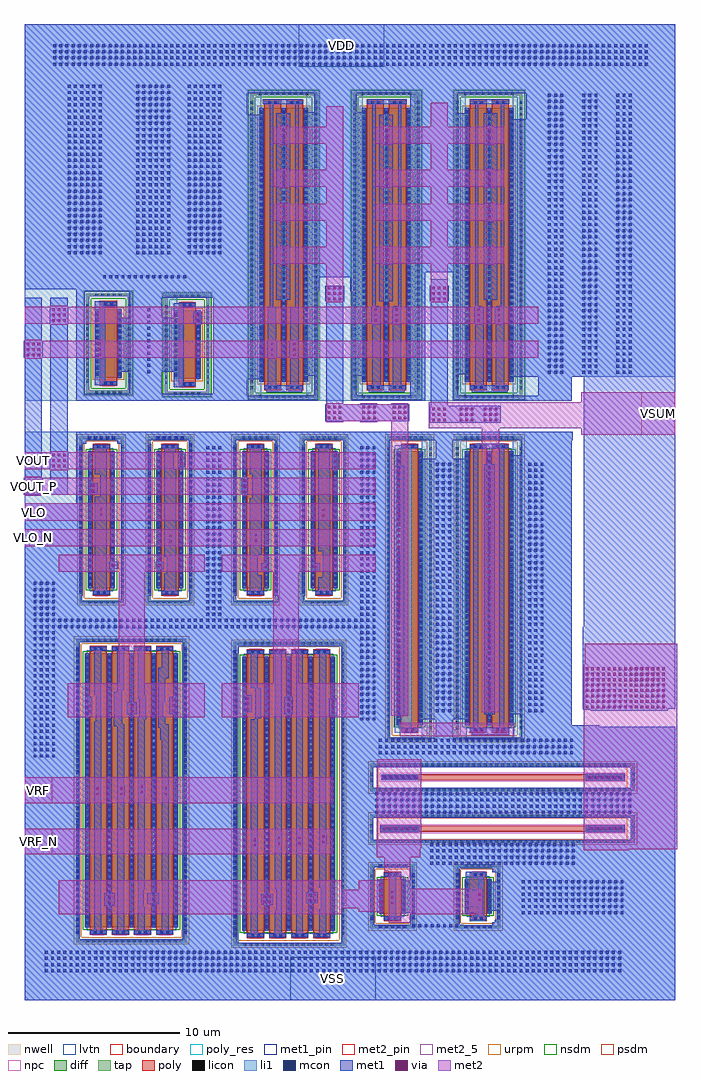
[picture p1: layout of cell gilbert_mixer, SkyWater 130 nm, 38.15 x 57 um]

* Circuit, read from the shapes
.subckt gilbert_mixer VDD VLO VLO_N VOUT VOUT_P VRF VRF_N VSS VSUM
XM1 n1 VRF n2 VSS sky130_fd_pr__nfet_01v8_lvt w=16 l=1 m=4
XM2 n2 VLO VOUT_P VSS sky130_fd_pr__nfet_01v8_lvt w=8 l=1
XM3 VOUT VLO_N n2 VSS sky130_fd_pr__nfet_01v8_lvt w=8 l=1
XM4 n1 VRF_N n3 VSS sky130_fd_pr__nfet_01v8_lvt w=16 l=1 m=4
XM5 n3 VLO_N VOUT_P VSS sky130_fd_pr__nfet_01v8_lvt w=8 l=1
XM6 VOUT VLO n3 VSS sky130_fd_pr__nfet_01v8_lvt w=8 l=1
XM7 VSS n4 n1 VSS sky130_fd_pr__nfet_01v8_lvt w=2 l=1
XM8 VSS n5 n5 VSS sky130_fd_pr__nfet_01v8_lvt w=16 l=1
XM9 VSS n4 n4 VSS sky130_fd_pr__nfet_01v8_lvt w=2 l=1
XM10 VSUM n5 VSS VSS sky130_fd_pr__nfet_01v8_lvt w=16 l=1 m=2
XM11 VDD VOUT_P VOUT_P VDD sky130_fd_pr__pfet_01v8 w=4 l=1
XM12 VOUT VDD VDD VDD sky130_fd_pr__pfet_01v8 w=4 l=1
XM13 n5 VOUT_P VDD VDD sky130_fd_pr__pfet_01v8 w=16 l=1 m=2
XM14 VSUM VOUT VDD VDD sky130_fd_pr__pfet_01v8 w=16 l=1 m=4
XR15 VDD n4 VSS sky130_fd_pr__res_xhigh_po w=0.35 l=9.88
XR16 VDD n6 VSS sky130_fd_pr__res_xhigh_po w=0.35 l=9.88
.ends

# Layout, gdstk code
from math import pi, radians
import gdstk
lib = gdstk.Library(unit=1e-6, precision=1e-09)
def R(c, l, rs):  # rectangles x0, y0, x1, y1
    for r in rs: c.add(gdstk.rectangle(r[:2], r[2:], *l))
def A(c, l, x, y, w, h, nx, ny, dx, dy):  # array of equal rectangles
    R(c, l, [(x+i*dx, y+j*dy, x+i*dx+w, y+j*dy+h) for i in range(nx) for j in range(ny)])
nwell = (64, 20)
diff = (65, 20)
tap = (65, 44)
poly_res = (66, 13)
poly = (66, 20)
licon = (66, 44)
li1 = (67, 20)
mcon = (67, 44)
met1_pin = (68, 16)
met1 = (68, 20)
via = (68, 44)
met2_5 = (69, 5)
met2_pin = (69, 16)
met2 = (69, 20)
urpm = (79, 20)
nsdm = (93, 44)
psdm = (94, 20)
npc = (95, 20)
lvtn = (125, 44)
boundary = (235, 4)

sky130_fd_pr__res_xhigh_ = lib.new_cell('sky130_fd_pr__res_xhigh_po_0p35_KNBXRF')
R(sky130_fd_pr__res_xhigh_, tap, [(-0.825,-7.73,0.825,-7.56), (-0.825,-7.56,-0.655,7.56), (0.655,-7.56,0.825,7.56), (-0.825,7.56,0.825,7.73)])
R(sky130_fd_pr__res_xhigh_, poly_res, [(-0.175,-5,0.175,5)])
R(sky130_fd_pr__res_xhigh_, poly, [(-0.175,-7.08,0.175,7.08)])
A(sky130_fd_pr__res_xhigh_, licon, -0.825, -7.225, 0.17, 0.17, 1, 43, 0, 0.34)
A(sky130_fd_pr__res_xhigh_, licon, 0.655, -7.225, 0.17, 0.17, 1, 43, 0, 0.34)
R(sky130_fd_pr__res_xhigh_, licon, [(-0.255,-7.73,-0.085,-7.56), (0.085,-7.73,0.255,-7.56), (-0.095,-7,0.095,-5), (-0.095,5,0.095,7), (-0.255,7.56,-0.085,7.73), (0.085,7.56,0.255,7.73)])
R(sky130_fd_pr__res_xhigh_, li1, [(-0.825,-7.73,0.825,-7.56), (-0.825,-7.56,-0.655,7.56), (0.655,-7.56,0.825,7.56), (-0.175,-7.08,0.175,-4.92), (-0.175,4.92,0.175,7.08), (-0.825,7.56,0.825,7.73)])
A(sky130_fd_pr__res_xhigh_, mcon, -0.085, -6.985, 0.17, 0.17, 1, 6, 0, 0.36)
A(sky130_fd_pr__res_xhigh_, mcon, -0.085, 5.01, 0.17, 0.17, 1, 6, 0, 0.36)
R(sky130_fd_pr__res_xhigh_, met1, [(-0.125,-7.05,0.125,-4.945), (-0.125,4.945,0.125,7.05)])
R(sky130_fd_pr__res_xhigh_, urpm, [(-0.635,-7.28,0.635,7.28)])
R(sky130_fd_pr__res_xhigh_, psdm, [(-0.95,-7.855,0.95,7.855)])
R(sky130_fd_pr__res_xhigh_, npc, [(-0.27,-7.175,0.27,7.175)])
R(sky130_fd_pr__res_xhigh_, boundary, [(-0.74,-7.645,0.74,7.645)])

sky130_fd_pr__nfet_01v8_ = lib.new_cell('sky130_fd_pr__nfet_01v8_lvt_7WXQKD')
R(sky130_fd_pr__nfet_01v8_, diff, [(-0.79,-8,0.79,8)])
R(sky130_fd_pr__nfet_01v8_, tap, [(-1.3,-8.87,1.3,-8.7), (-1.3,-8.7,-1.13,8.7), (1.13,-8.7,1.3,8.7), (-1.3,8.7,1.3,8.87)])
R(sky130_fd_pr__nfet_01v8_, poly, [(-0.5,-8.44,0.5,8.44)])
A(sky130_fd_pr__nfet_01v8_, licon, -0.765, -8.87, 0.17, 0.17, 5, 2, 0.34, 17.57)
A(sky130_fd_pr__nfet_01v8_, licon, -1.3, -8.245, 0.17, 0.17, 1, 49, 0, 0.34)
A(sky130_fd_pr__nfet_01v8_, licon, 1.13, -8.245, 0.17, 0.17, 1, 49, 0, 0.34)
A(sky130_fd_pr__nfet_01v8_, licon, -0.73, -7.905, 0.17, 0.17, 1, 47, 0, 0.34)
A(sky130_fd_pr__nfet_01v8_, licon, 0.56, -7.905, 0.17, 0.17, 1, 47, 0, 0.34)
R(sky130_fd_pr__nfet_01v8_, licon, [(-0.255,-8.36,-0.085,-8.19), (0.085,-8.36,0.255,-8.19), (-0.255,8.19,-0.085,8.36), (0.085,8.19,0.255,8.36)])
R(sky130_fd_pr__nfet_01v8_, li1, [(-1.3,-8.87,1.3,-8.7), (-1.3,-8.7,-1.13,8.7), (1.13,-8.7,1.3,8.7), (-0.5,-8.36,0.5,-8.19), (-0.73,-8.02,-0.56,8.02), (0.56,-8.02,0.73,8.02), (-0.5,8.19,0.5,8.36), (-1.3,8.7,1.3,8.87)])
A(sky130_fd_pr__nfet_01v8_, mcon, -0.73, -7.825, 0.17, 0.17, 1, 44, 0, 0.36)
A(sky130_fd_pr__nfet_01v8_, mcon, 0.56, -7.825, 0.17, 0.17, 1, 44, 0, 0.36)
R(sky130_fd_pr__nfet_01v8_, mcon, [(-0.265,-8.36,-0.095,-8.19), (0.095,-8.36,0.265,-8.19), (-0.265,8.19,-0.095,8.36), (0.095,8.19,0.265,8.36)])
R(sky130_fd_pr__nfet_01v8_, met1, [(-0.48,-8.39,0.48,-8.16), (-0.76,-8,-0.53,8), (0.53,-8,0.76,8), (-0.48,8.16,0.48,8.39)])
R(sky130_fd_pr__nfet_01v8_, nsdm, [(-0.915,-8.125,0.915,8.125)])
R(sky130_fd_pr__nfet_01v8_, psdm, [(-1.425,-8.995,1.425,-8.575), (-1.425,-8.575,-1.005,8.575), (1.005,-8.575,1.425,8.575), (-1.425,8.575,1.425,8.995)])
R(sky130_fd_pr__nfet_01v8_, npc, [(-0.355,-8.46,0.355,-8.09), (-0.355,8.09,0.355,8.46)])
R(sky130_fd_pr__nfet_01v8_, lvtn, [(-0.68,-8.18,0.68,8.18)])
R(sky130_fd_pr__nfet_01v8_, boundary, [(-1.21,-8.78,1.21,8.78)])

c_sky130_fd_pr__nfet_01v8_ = lib.new_cell('sky130_fd_pr__nfet_01v8_lvt_XA7BLB')
R(c_sky130_fd_pr__nfet_01v8_, diff, [(-1.435,-8,1.435,8)])
R(c_sky130_fd_pr__nfet_01v8_, tap, [(-1.945,-8.87,1.945,-8.7), (-1.945,-8.7,-1.775,8.7), (1.775,-8.7,1.945,8.7), (-1.945,8.7,1.945,8.87)])
R(c_sky130_fd_pr__nfet_01v8_, poly, [(-1.145,-8.44,-0.145,8.44), (0.145,-8.44,1.145,8.44)])
A(c_sky130_fd_pr__nfet_01v8_, licon, -1.445, -8.87, 0.17, 0.17, 9, 2, 0.34, 17.57)
A(c_sky130_fd_pr__nfet_01v8_, licon, -1.945, -8.245, 0.17, 0.17, 1, 49, 0, 0.34)
A(c_sky130_fd_pr__nfet_01v8_, licon, 1.775, -8.245, 0.17, 0.17, 1, 49, 0, 0.34)
A(c_sky130_fd_pr__nfet_01v8_, licon, -1.375, -7.905, 0.17, 0.17, 3, 47, 1.29, 0.34)
R(c_sky130_fd_pr__nfet_01v8_, licon, [(-0.9,-8.36,-0.73,-8.19), (-0.56,-8.36,-0.39,-8.19), (0.39,-8.36,0.56,-8.19), (0.73,-8.36,0.9,-8.19), (-0.9,8.19,-0.73,8.36), (-0.56,8.19,-0.39,8.36), (0.39,8.19,0.56,8.36), (0.73,8.19,0.9,8.36)])
A(c_sky130_fd_pr__nfet_01v8_, li1, -1.375, -8.02, 0.17, 16.04, 3, 1, 1.29, 0)
R(c_sky130_fd_pr__nfet_01v8_, li1, [(-1.945,-8.87,1.945,-8.7), (-1.945,-8.7,-1.775,8.7), (1.775,-8.7,1.945,8.7), (-1.145,-8.36,-0.145,-8.19), (0.145,-8.36,1.145,-8.19), (-1.145,8.19,-0.145,8.36), (0.145,8.19,1.145,8.36), (-1.945,8.7,1.945,8.87)])
A(c_sky130_fd_pr__nfet_01v8_, mcon, -1.375, -7.825, 0.17, 0.17, 3, 44, 1.29, 0.36)
R(c_sky130_fd_pr__nfet_01v8_, mcon, [(-0.91,-8.36,-0.74,-8.19), (-0.55,-8.36,-0.38,-8.19), (0.38,-8.36,0.55,-8.19), (0.74,-8.36,0.91,-8.19), (-0.91,8.19,-0.74,8.36), (-0.55,8.19,-0.38,8.36), (0.38,8.19,0.55,8.36), (0.74,8.19,0.91,8.36)])
A(c_sky130_fd_pr__nfet_01v8_, met1, -1.405, -8, 0.23, 16, 3, 1, 1.29, 0)
R(c_sky130_fd_pr__nfet_01v8_, met1, [(-1.125,-8.39,-0.165,-8.16), (0.165,-8.39,1.125,-8.16), (-1.125,8.16,-0.165,8.39), (0.165,8.16,1.125,8.39)])
R(c_sky130_fd_pr__nfet_01v8_, nsdm, [(-1.56,-8.125,1.56,8.125)])
R(c_sky130_fd_pr__nfet_01v8_, psdm, [(-2.07,-8.995,2.07,-8.575), (-2.07,-8.575,-1.65,8.575), (1.65,-8.575,2.07,8.575), (-2.07,8.575,2.07,8.995)])
R(c_sky130_fd_pr__nfet_01v8_, npc, [(-1,-8.46,-0.29,-8.09), (0.29,-8.46,1,-8.09), (-1,8.09,-0.29,8.46), (0.29,8.09,1,8.46)])
R(c_sky130_fd_pr__nfet_01v8_, lvtn, [(-1.325,-8.18,1.325,8.18)])
R(c_sky130_fd_pr__nfet_01v8_, boundary, [(-1.86,-8.785,1.86,8.785)])

sky130_fd_pr__pfet_01v8_ = lib.new_cell('sky130_fd_pr__pfet_01v8_6HGTAW')
R(sky130_fd_pr__pfet_01v8_, nwell, [(-2.125,-9.095,2.125,9.095)])
R(sky130_fd_pr__pfet_01v8_, diff, [(-1.435,-8,1.435,8)])
R(sky130_fd_pr__pfet_01v8_, tap, [(-1.945,-8.915,1.945,-8.745), (-1.945,-8.745,-1.775,8.745), (1.775,-8.745,1.945,8.745), (-1.945,8.745,1.945,8.915)])
R(sky130_fd_pr__pfet_01v8_, poly, [(-1.145,-8.485,-0.145,8.485), (0.145,-8.485,1.145,8.485)])
A(sky130_fd_pr__pfet_01v8_, licon, -1.445, -8.915, 0.17, 0.17, 9, 2, 0.34, 17.66)
A(sky130_fd_pr__pfet_01v8_, licon, -1.945, -8.415, 0.17, 0.17, 1, 50, 0, 0.34)
A(sky130_fd_pr__pfet_01v8_, licon, 1.775, -8.415, 0.17, 0.17, 1, 50, 0, 0.34)
A(sky130_fd_pr__pfet_01v8_, licon, -1.375, -7.905, 0.17, 0.17, 3, 47, 1.29, 0.34)
R(sky130_fd_pr__pfet_01v8_, licon, [(-0.9,-8.405,-0.73,-8.235), (-0.56,-8.405,-0.39,-8.235), (0.39,-8.405,0.56,-8.235), (0.73,-8.405,0.9,-8.235), (-0.9,8.235,-0.73,8.405), (-0.56,8.235,-0.39,8.405), (0.39,8.235,0.56,8.405), (0.73,8.235,0.9,8.405)])
A(sky130_fd_pr__pfet_01v8_, li1, -1.375, -8.02, 0.17, 16.04, 3, 1, 1.29, 0)
R(sky130_fd_pr__pfet_01v8_, li1, [(-1.945,-8.915,1.945,-8.745), (-1.945,-8.745,-1.775,8.745), (1.775,-8.745,1.945,8.745), (-1.145,-8.405,-0.145,-8.235), (0.145,-8.405,1.145,-8.235), (-1.145,8.235,-0.145,8.405), (0.145,8.235,1.145,8.405), (-1.945,8.745,1.945,8.915)])
A(sky130_fd_pr__pfet_01v8_, mcon, -1.375, -7.825, 0.17, 0.17, 3, 44, 1.29, 0.36)
R(sky130_fd_pr__pfet_01v8_, mcon, [(-0.91,-8.405,-0.74,-8.235), (-0.55,-8.405,-0.38,-8.235), (0.38,-8.405,0.55,-8.235), (0.74,-8.405,0.91,-8.235), (-0.91,8.235,-0.74,8.405), (-0.55,8.235,-0.38,8.405), (0.38,8.235,0.55,8.405), (0.74,8.235,0.91,8.405)])
A(sky130_fd_pr__pfet_01v8_, met1, -1.405, -8, 0.23, 16, 3, 1, 1.29, 0)
R(sky130_fd_pr__pfet_01v8_, met1, [(-1.125,-8.435,-0.165,-8.205), (0.165,-8.435,1.125,-8.205), (-1.125,8.205,-0.165,8.435), (0.165,8.205,1.125,8.435)])
R(sky130_fd_pr__pfet_01v8_, nsdm, [(-2.07,-9.04,2.07,-8.62), (-2.07,-8.62,-1.65,8.62), (1.65,-8.62,2.07,8.62), (-2.07,8.62,2.07,9.04)])
R(sky130_fd_pr__pfet_01v8_, psdm, [(-1.56,-8.125,1.56,8.125)])
R(sky130_fd_pr__pfet_01v8_, npc, [(-1,-8.505,-0.29,-8.135), (0.29,-8.505,1,-8.135), (-1,8.135,-0.29,8.505), (0.29,8.135,1,8.505)])
R(sky130_fd_pr__pfet_01v8_, boundary, [(-1.86,-8.83,1.86,8.83)])

c_sky130_fd_pr__nfet_01v8__ = lib.new_cell('sky130_fd_pr__nfet_01v8_lvt_QGMAL3')
R(c_sky130_fd_pr__nfet_01v8__, diff, [(-0.79,-1,0.79,1)])
R(c_sky130_fd_pr__nfet_01v8__, tap, [(-1.3,-1.87,1.3,-1.7), (-1.3,-1.7,-1.13,1.7), (1.13,-1.7,1.3,1.7), (-1.3,1.7,1.3,1.87)])
R(c_sky130_fd_pr__nfet_01v8__, poly, [(-0.5,-1.44,0.5,1.44)])
A(c_sky130_fd_pr__nfet_01v8__, licon, -0.765, -1.87, 0.17, 0.17, 5, 2, 0.34, 3.57)
A(c_sky130_fd_pr__nfet_01v8__, licon, -1.3, -1.275, 0.17, 0.17, 1, 8, 0, 0.34)
A(c_sky130_fd_pr__nfet_01v8__, licon, 1.13, -1.275, 0.17, 0.17, 1, 8, 0, 0.34)
A(c_sky130_fd_pr__nfet_01v8__, licon, -0.73, -0.935, 0.17, 0.17, 1, 6, 0, 0.34)
A(c_sky130_fd_pr__nfet_01v8__, licon, 0.56, -0.935, 0.17, 0.17, 1, 6, 0, 0.34)
R(c_sky130_fd_pr__nfet_01v8__, licon, [(-0.255,-1.36,-0.085,-1.19), (0.085,-1.36,0.255,-1.19), (-0.255,1.19,-0.085,1.36), (0.085,1.19,0.255,1.36)])
R(c_sky130_fd_pr__nfet_01v8__, li1, [(-1.3,-1.87,1.3,-1.7), (-1.3,-1.7,-1.13,1.7), (1.13,-1.7,1.3,1.7), (-0.5,-1.36,0.5,-1.19), (-0.73,-1.02,-0.56,1.02), (0.56,-1.02,0.73,1.02), (-0.5,1.19,0.5,1.36), (-1.3,1.7,1.3,1.87)])
A(c_sky130_fd_pr__nfet_01v8__, mcon, -0.73, -0.805, 0.17, 0.17, 1, 5, 0, 0.36)
A(c_sky130_fd_pr__nfet_01v8__, mcon, 0.56, -0.805, 0.17, 0.17, 1, 5, 0, 0.36)
R(c_sky130_fd_pr__nfet_01v8__, mcon, [(-0.265,-1.36,-0.095,-1.19), (0.095,-1.36,0.265,-1.19), (-0.265,1.19,-0.095,1.36), (0.095,1.19,0.265,1.36)])
R(c_sky130_fd_pr__nfet_01v8__, met1, [(-0.48,-1.39,0.48,-1.16), (-0.76,-1,-0.53,1), (0.53,-1,0.76,1), (-0.48,1.16,0.48,1.39)])
R(c_sky130_fd_pr__nfet_01v8__, nsdm, [(-0.915,-1.125,0.915,1.125)])
R(c_sky130_fd_pr__nfet_01v8__, psdm, [(-1.425,-1.995,1.425,-1.575), (-1.425,-1.575,-1.005,1.575), (1.005,-1.575,1.425,1.575), (-1.425,1.575,1.425,1.995)])
R(c_sky130_fd_pr__nfet_01v8__, npc, [(-0.355,-1.46,0.355,-1.09), (-0.355,1.09,0.355,1.46)])
R(c_sky130_fd_pr__nfet_01v8__, lvtn, [(-0.68,-1.18,0.68,1.18)])
R(c_sky130_fd_pr__nfet_01v8__, boundary, [(-1.21,-1.78,1.21,1.78)])

c_sky130_fd_pr__pfet_01v8_ = lib.new_cell('sky130_fd_pr__pfet_01v8_3H68VM')
R(c_sky130_fd_pr__pfet_01v8_, nwell, [(-1.48,-3.095,1.48,3.095)])
R(c_sky130_fd_pr__pfet_01v8_, diff, [(-0.79,-2,0.79,2)])
R(c_sky130_fd_pr__pfet_01v8_, tap, [(-1.3,-2.915,1.3,-2.745), (-1.3,-2.745,-1.13,2.745), (1.13,-2.745,1.3,2.745), (-1.3,2.745,1.3,2.915)])
R(c_sky130_fd_pr__pfet_01v8_, poly, [(-0.5,-2.485,0.5,2.485)])
A(c_sky130_fd_pr__pfet_01v8_, licon, -0.765, -2.915, 0.17, 0.17, 5, 2, 0.34, 5.66)
A(c_sky130_fd_pr__pfet_01v8_, licon, -1.3, -2.295, 0.17, 0.17, 1, 14, 0, 0.34)
A(c_sky130_fd_pr__pfet_01v8_, licon, 1.13, -2.295, 0.17, 0.17, 1, 14, 0, 0.34)
A(c_sky130_fd_pr__pfet_01v8_, licon, -0.73, -1.785, 0.17, 0.17, 1, 11, 0, 0.34)
A(c_sky130_fd_pr__pfet_01v8_, licon, 0.56, -1.785, 0.17, 0.17, 1, 11, 0, 0.34)
R(c_sky130_fd_pr__pfet_01v8_, licon, [(-0.255,-2.405,-0.085,-2.235), (0.085,-2.405,0.255,-2.235), (-0.255,2.235,-0.085,2.405), (0.085,2.235,0.255,2.405)])
R(c_sky130_fd_pr__pfet_01v8_, li1, [(-1.3,-2.915,1.3,-2.745), (-1.3,-2.745,-1.13,2.745), (1.13,-2.745,1.3,2.745), (-0.5,-2.405,0.5,-2.235), (-0.73,-2.02,-0.56,2.02), (0.56,-2.02,0.73,2.02), (-0.5,2.235,0.5,2.405), (-1.3,2.745,1.3,2.915)])
A(c_sky130_fd_pr__pfet_01v8_, mcon, -0.73, -1.885, 0.17, 0.17, 1, 11, 0, 0.36)
A(c_sky130_fd_pr__pfet_01v8_, mcon, 0.56, -1.885, 0.17, 0.17, 1, 11, 0, 0.36)
R(c_sky130_fd_pr__pfet_01v8_, mcon, [(-0.265,-2.405,-0.095,-2.235), (0.095,-2.405,0.265,-2.235), (-0.265,2.235,-0.095,2.405), (0.095,2.235,0.265,2.405)])
R(c_sky130_fd_pr__pfet_01v8_, met1, [(-0.48,-2.435,0.48,-2.205), (-0.76,-2,-0.53,2), (0.53,-2,0.76,2), (-0.48,2.205,0.48,2.435)])
R(c_sky130_fd_pr__pfet_01v8_, nsdm, [(-1.425,-3.04,1.425,-2.62), (-1.425,-2.62,-1.005,2.62), (1.005,-2.62,1.425,2.62), (-1.425,2.62,1.425,3.04)])
R(c_sky130_fd_pr__pfet_01v8_, psdm, [(-0.915,-2.125,0.915,2.125)])
R(c_sky130_fd_pr__pfet_01v8_, npc, [(-0.355,-2.505,0.355,-2.135), (-0.355,2.135,0.355,2.505)])
R(c_sky130_fd_pr__pfet_01v8_, boundary, [(-1.215,-2.83,1.215,2.83)])

c_sky130_fd_pr__nfet_01v8___ = lib.new_cell('sky130_fd_pr__nfet_01v8_lvt_TV58K7')
R(c_sky130_fd_pr__nfet_01v8___, diff, [(-2.725,-8,2.725,8)])
R(c_sky130_fd_pr__nfet_01v8___, tap, [(-3.235,-8.87,3.235,-8.7), (-3.235,-8.7,-3.065,8.7), (3.065,-8.7,3.235,8.7), (-3.235,8.7,3.235,8.87)])
A(c_sky130_fd_pr__nfet_01v8___, poly, -2.435, -8.44, 1, 16.88, 4, 1, 1.29, 0)
A(c_sky130_fd_pr__nfet_01v8___, licon, -2.635, -8.87, 0.17, 0.17, 16, 2, 0.34, 17.57)
A(c_sky130_fd_pr__nfet_01v8___, licon, -3.235, -8.245, 0.17, 0.17, 1, 49, 0, 0.34)
A(c_sky130_fd_pr__nfet_01v8___, licon, 3.065, -8.245, 0.17, 0.17, 1, 49, 0, 0.34)
A(c_sky130_fd_pr__nfet_01v8___, licon, -2.665, -7.905, 0.17, 0.17, 5, 47, 1.29, 0.34)
R(c_sky130_fd_pr__nfet_01v8___, licon, [(-2.19,-8.36,-2.02,-8.19), (-1.85,-8.36,-1.68,-8.19), (-0.9,-8.36,-0.73,-8.19), (-0.56,-8.36,-0.39,-8.19), (0.39,-8.36,0.56,-8.19), (0.73,-8.36,0.9,-8.19), (1.68,-8.36,1.85,-8.19), (2.02,-8.36,2.19,-8.19), (-2.19,8.19,-2.02,8.36), (-1.85,8.19,-1.68,8.36), (-0.9,8.19,-0.73,8.36), (-0.56,8.19,-0.39,8.36), (0.39,8.19,0.56,8.36), (0.73,8.19,0.9,8.36), (1.68,8.19,1.85,8.36), (2.02,8.19,2.19,8.36)])
A(c_sky130_fd_pr__nfet_01v8___, li1, -2.435, -8.36, 1, 0.17, 4, 2, 1.29, 16.55)
A(c_sky130_fd_pr__nfet_01v8___, li1, -2.665, -8.02, 0.17, 16.04, 5, 1, 1.29, 0)
R(c_sky130_fd_pr__nfet_01v8___, li1, [(-3.235,-8.87,3.235,-8.7), (-3.235,-8.7,-3.065,8.7), (3.065,-8.7,3.235,8.7), (-3.235,8.7,3.235,8.87)])
A(c_sky130_fd_pr__nfet_01v8___, mcon, -2.665, -7.825, 0.17, 0.17, 5, 44, 1.29, 0.36)
R(c_sky130_fd_pr__nfet_01v8___, mcon, [(-2.2,-8.36,-2.03,-8.19), (-1.84,-8.36,-1.67,-8.19), (-0.91,-8.36,-0.74,-8.19), (-0.55,-8.36,-0.38,-8.19), (0.38,-8.36,0.55,-8.19), (0.74,-8.36,0.91,-8.19), (1.67,-8.36,1.84,-8.19), (2.03,-8.36,2.2,-8.19), (-2.2,8.19,-2.03,8.36), (-1.84,8.19,-1.67,8.36), (-0.91,8.19,-0.74,8.36), (-0.55,8.19,-0.38,8.36), (0.38,8.19,0.55,8.36), (0.74,8.19,0.91,8.36), (1.67,8.19,1.84,8.36), (2.03,8.19,2.2,8.36)])
A(c_sky130_fd_pr__nfet_01v8___, met1, -2.415, -8.39, 0.96, 0.23, 4, 2, 1.29, 16.55)
A(c_sky130_fd_pr__nfet_01v8___, met1, -2.695, -8, 0.23, 16, 5, 1, 1.29, 0)
R(c_sky130_fd_pr__nfet_01v8___, nsdm, [(-2.85,-8.125,2.85,8.125)])
R(c_sky130_fd_pr__nfet_01v8___, psdm, [(-3.36,-8.995,3.36,-8.575), (-3.36,-8.575,-2.94,8.575), (2.94,-8.575,3.36,8.575), (-3.36,8.575,3.36,8.995)])
A(c_sky130_fd_pr__nfet_01v8___, npc, -2.29, -8.46, 0.71, 0.37, 4, 2, 1.29, 16.55)
R(c_sky130_fd_pr__nfet_01v8___, lvtn, [(-2.615,-8.18,2.615,8.18)])
R(c_sky130_fd_pr__nfet_01v8___, boundary, [(-3.15,-8.785,3.15,8.785)])

c_sky130_fd_pr__nfet_01v8____ = lib.new_cell('sky130_fd_pr__nfet_01v8_lvt_HS3BL4')
R(c_sky130_fd_pr__nfet_01v8____, diff, [(-0.79,-4,0.79,4)])
R(c_sky130_fd_pr__nfet_01v8____, tap, [(-1.3,-4.87,1.3,-4.7), (-1.3,-4.7,-1.13,4.7), (1.13,-4.7,1.3,4.7), (-1.3,4.7,1.3,4.87)])
R(c_sky130_fd_pr__nfet_01v8____, poly, [(-0.5,-4.44,0.5,4.44)])
A(c_sky130_fd_pr__nfet_01v8____, licon, -0.765, -4.87, 0.17, 0.17, 5, 2, 0.34, 9.57)
A(c_sky130_fd_pr__nfet_01v8____, licon, -1.3, -4.335, 0.17, 0.17, 1, 26, 0, 0.34)
A(c_sky130_fd_pr__nfet_01v8____, licon, 1.13, -4.335, 0.17, 0.17, 1, 26, 0, 0.34)
A(c_sky130_fd_pr__nfet_01v8____, licon, -0.73, -3.825, 0.17, 0.17, 1, 23, 0, 0.34)
A(c_sky130_fd_pr__nfet_01v8____, licon, 0.56, -3.825, 0.17, 0.17, 1, 23, 0, 0.34)
R(c_sky130_fd_pr__nfet_01v8____, licon, [(-0.255,-4.36,-0.085,-4.19), (0.085,-4.36,0.255,-4.19), (-0.255,4.19,-0.085,4.36), (0.085,4.19,0.255,4.36)])
R(c_sky130_fd_pr__nfet_01v8____, li1, [(-1.3,-4.87,1.3,-4.7), (-1.3,-4.7,-1.13,4.7), (1.13,-4.7,1.3,4.7), (-0.5,-4.36,0.5,-4.19), (-0.73,-4.02,-0.56,4.02), (0.56,-4.02,0.73,4.02), (-0.5,4.19,0.5,4.36), (-1.3,4.7,1.3,4.87)])
A(c_sky130_fd_pr__nfet_01v8____, mcon, -0.73, -3.865, 0.17, 0.17, 1, 22, 0, 0.36)
A(c_sky130_fd_pr__nfet_01v8____, mcon, 0.56, -3.865, 0.17, 0.17, 1, 22, 0, 0.36)
R(c_sky130_fd_pr__nfet_01v8____, mcon, [(-0.265,-4.36,-0.095,-4.19), (0.095,-4.36,0.265,-4.19), (-0.265,4.19,-0.095,4.36), (0.095,4.19,0.265,4.36)])
R(c_sky130_fd_pr__nfet_01v8____, met1, [(-0.48,-4.39,0.48,-4.16), (-0.76,-4,-0.53,4), (0.53,-4,0.76,4), (-0.48,4.16,0.48,4.39)])
R(c_sky130_fd_pr__nfet_01v8____, nsdm, [(-0.915,-4.125,0.915,4.125)])
R(c_sky130_fd_pr__nfet_01v8____, psdm, [(-1.425,-4.995,1.425,-4.575), (-1.425,-4.575,-1.005,4.575), (1.005,-4.575,1.425,4.575), (-1.425,4.575,1.425,4.995)])
R(c_sky130_fd_pr__nfet_01v8____, npc, [(-0.355,-4.46,0.355,-4.09), (-0.355,4.09,0.355,4.46)])
R(c_sky130_fd_pr__nfet_01v8____, lvtn, [(-0.68,-4.18,0.68,4.18)])
R(c_sky130_fd_pr__nfet_01v8____, boundary, [(-1.21,-4.78,1.21,4.78)])

gilbert_mixer = lib.new_cell('gilbert_mixer')
R(gilbert_mixer, diff, [(0.2,11,0.7,13), (2.8,12.9,3.1,13.7)])
R(gilbert_mixer, poly, [(0.2,11,0.7,13), (2.8,12.9,3.1,13.7)])
A(gilbert_mixer, li1, 8.06, -1.31, 0.84, 0.17, 4, 1, 1.29, 0)
A(gilbert_mixer, li1, -1.12, -1.12, 0.84, 0.17, 4, 1, 1.29, 0)
A(gilbert_mixer, li1, 7.75, -0.89, 0.17, 15.88, 5, 1, 1.29, 0)
A(gilbert_mixer, li1, -1.43, -0.7, 0.17, 15.88, 5, 1, 1.29, 0)
R(gilbert_mixer, li1, [(-5,-5,33,-1.65), (-5,-1.65,7.5,-1.45), (13.5,-1.65,33,-0.65), (-5,-1.45,-1.8,15.9), (4.2,-1.45,7.5,15.65), (13.5,-0.65,20.65,-0.6), (22.3,-0.65,33,-0.45), (13.5,-0.6,15.4,2.75), (17.5,-0.6,20.4,0.11), (22.45,-0.45,33,-0.3), (21.05,-0.4,21.9,-0.1), (16.06,-0.31,16.9,-0.14), (22.61,-0.3,33,0.2), (21.15,-0.1,21.85,-0.05), (21.5,-0.05,21.85,0.45), (15.75,0.11,15.92,1.99), (17.04,0.11,20.4,1.95), (20.75,0.11,20.92,0.45), (22.04,0.11,22.21,0.2), (22.04,0.2,33,1.9), (20.75,0.45,21.85,1.45), (20.75,1.45,20.92,1.99), (21.5,1.45,21.85,2.15), (22.04,1.9,22.21,1.99), (22.61,1.9,33,2.44), (17.04,1.95,17.21,1.99), (17.5,1.95,20.4,2.7), (21.15,2.15,21.85,2.2), (21.05,2.2,21.9,2.5), (16.06,2.24,16.9,2.41), (22.7,2.44,33,2.45), (22.3,2.45,33,2.7), (17.5,2.7,33,2.75), (13.5,2.75,33,4.35), (13.5,4.35,15.35,5.65), (30.4,4.35,33,5.65), (15.83,4.83,17.99,5.18), (27.83,4.83,29.99,5.18), (13.5,5.65,33,7.4), (13.5,7.4,15.35,8.6), (30.4,7.4,33,8.6), (27.83,7.83,29.99,8.18), (13.5,8.6,33,10.3), (13.5,10.3,16.3,15.65), (18.2,10.3,20.8,11.4), (23.5,10.3,33,10.95), (16.6,10.6,17.6,27.4), (23.5,10.95,28.55,11.05), (23.5,11.05,26.95,11.7), (18.1,11.4,20.9,26.6), (23.4,11.7,26.95,26.8), (4.2,15.65,16.3,15.9), (-5,15.9,16.3,18.3), (-5,18.3,-1.7,18.66), (0.65,18.3,2.2,18.66), (4.6,18.3,7.3,18.66), (9.7,18.3,11.3,18.66), (13.6,18.3,16.3,27.7), (-5,18.66,-1.65,27.44), (0.65,18.66,2.35,27.44), (4.6,18.66,7.35,27.44), (9.61,18.66,11.35,27.44), (-1.25,19.11,-1.08,26.99), (18.2,26.6,20.8,27.7), (23.5,26.8,26.95,27.7), (-0.94,27.24,-0.1,27.41), (-5,27.44,-1.7,27.5), (0.65,27.44,2.2,27.5), (4.6,27.44,7.3,27.7), (9.7,27.44,11.3,27.7), (-5,27.5,-1.4,27.7), (0.4,27.5,2.2,27.7), (-5,27.7,27,28.2), (-5,30,26.95,30.3), (-5,30.3,8.8,30.4), (11.45,30.3,14.75,31.45), (17.5,30.3,20.75,31.55), (23.5,30.3,26.95,31.4), (-5,30.4,3,30.5), (6,30.4,8.8,31.25), (-5,30.5,-1.3,36.1), (1.1,30.5,3,31.7), (3.7,30.8,4.3,31.7), (-0.9,30.9,-0.3,35.8), (6,31.25,8.9,36), (23.45,31.4,33,46.45), (11.3,31.45,14.9,46.85), (17.35,31.55,20.8,46.8), (0.5,31.7,4.3,34.85), (1.1,34.85,4.3,35.7), (1.1,35.7,3.9,36), (1.1,36,8.9,36.1), (-5,36.1,8.9,46.7), (23.5,46.45,33,47.95), (-5,46.7,8.8,47.95), (17.5,46.8,20.75,47.95), (11.45,46.85,14.75,47.95), (-5,47.95,33,52)])
A(gilbert_mixer, mcon, -3.825, -3.375, 0.17, 0.17, 94, 4, 0.36, 0.36)
A(gilbert_mixer, mcon, 7.18, -1.315, 0.17, 0.17, 1, 47, 0, 0.36)
A(gilbert_mixer, mcon, -2, -1.125, 0.17, 0.17, 1, 47, 0, 0.36)
A(gilbert_mixer, mcon, 4.3, -1.125, 0.17, 0.17, 1, 47, 0, 0.36)
A(gilbert_mixer, mcon, 15.675, -0.82, 0.17, 0.17, 5, 2, 0.36, 3.57)
A(gilbert_mixer, mcon, 20.675, -0.82, 0.17, 0.17, 5, 1, 0.36, 0)
A(gilbert_mixer, mcon, 7.75, -0.775, 0.17, 0.17, 5, 44, 1.29, 0.36)
A(gilbert_mixer, mcon, 17.63, -0.76, 0.17, 0.17, 8, 1, 0.36, 0)
A(gilbert_mixer, mcon, -1.43, -0.585, 0.17, 0.17, 5, 44, 1.29, 0.36)
A(gilbert_mixer, mcon, 17.61, -0.295, 0.17, 0.17, 1, 8, 0, 0.36)
A(gilbert_mixer, mcon, 20.18, -0.295, 0.17, 0.17, 1, 8, 0, 0.36)
A(gilbert_mixer, mcon, 22.61, -0.295, 0.17, 0.17, 1, 8, 0, 0.36)
A(gilbert_mixer, mcon, 24.035, 0.015, 0.17, 0.17, 17, 6, 0.36, 0.36)
A(gilbert_mixer, mcon, 15.75, 0.245, 0.17, 0.17, 1, 5, 0, 0.36)
A(gilbert_mixer, mcon, 17.04, 0.245, 0.17, 0.17, 1, 5, 0, 0.36)
A(gilbert_mixer, mcon, 20.75, 0.245, 0.17, 0.17, 1, 5, 0, 0.36)
A(gilbert_mixer, mcon, 22.04, 0.245, 0.17, 0.17, 1, 5, 0, 0.36)
A(gilbert_mixer, mcon, 18.675, 2.9, 0.17, 0.17, 24, 4, 0.36, 0.36)
A(gilbert_mixer, mcon, 15.925, 4.92, 0.17, 0.17, 6, 1, 0.36, 0)
A(gilbert_mixer, mcon, 27.925, 4.92, 0.17, 0.17, 6, 2, 0.36, 3)
A(gilbert_mixer, mcon, 15.485, 5.875, 0.17, 0.17, 42, 4, 0.36, 0.36)
A(gilbert_mixer, mcon, -4.485, 9.165, 0.17, 0.17, 4, 21, 0.36, 0.36)
A(gilbert_mixer, mcon, 15.685, 9.355, 0.17, 0.17, 32, 3, 0.36, 0.36)
A(gilbert_mixer, mcon, 14.595, 11.325, 0.17, 0.17, 3, 15, 0.36, 0.36)
A(gilbert_mixer, mcon, 19.005, 11.815, 0.17, 0.17, 3, 41, 0.36, 0.36)
A(gilbert_mixer, mcon, 24.405, 11.815, 0.17, 0.17, 3, 41, 0.36, 0.36)
A(gilbert_mixer, mcon, -4.485, 16.725, 0.17, 0.17, 56, 2, 0.36, 0.36)
A(gilbert_mixer, mcon, -4.485, 17.445, 0.17, 0.17, 4, 6, 0.36, 0.36)
A(gilbert_mixer, mcon, 5.595, 17.445, 0.17, 0.17, 3, 28, 0.36, 0.36)
A(gilbert_mixer, mcon, 14.595, 17.445, 0.17, 0.17, 3, 28, 0.36, 0.36)
A(gilbert_mixer, mcon, -1.82, 18.825, 0.17, 0.17, 1, 24, 0, 0.36)
A(gilbert_mixer, mcon, 2.18, 18.825, 0.17, 0.17, 1, 24, 0, 0.36)
A(gilbert_mixer, mcon, 7.18, 18.825, 0.17, 0.17, 1, 24, 0, 0.36)
A(gilbert_mixer, mcon, 9.61, 18.825, 0.17, 0.17, 1, 24, 0, 0.36)
A(gilbert_mixer, mcon, 11.18, 18.825, 0.17, 0.17, 1, 24, 0, 0.36)
A(gilbert_mixer, mcon, 4.6, 19.065, 0.17, 0.17, 1, 24, 0, 0.36)
A(gilbert_mixer, mcon, -1.25, 19.185, 0.17, 0.17, 1, 22, 0, 0.36)
A(gilbert_mixer, mcon, -1.325, 27.75, 0.17, 0.17, 5, 1, 0.36, 0)
A(gilbert_mixer, mcon, 2.675, 27.75, 0.17, 0.17, 5, 1, 0.36, 0)
A(gilbert_mixer, mcon, 25.555, 31.565, 0.17, 0.17, 3, 46, 0.36, 0.36)
A(gilbert_mixer, mcon, 27.555, 31.565, 0.17, 0.17, 3, 46, 0.36, 0.36)
A(gilbert_mixer, mcon, 29.555, 31.565, 0.17, 0.17, 3, 46, 0.36, 0.36)
A(gilbert_mixer, mcon, 2.165, 31.615, 0.17, 0.17, 1, 11, 0, 0.36)
A(gilbert_mixer, mcon, -0.425, 37.165, 0.17, 0.17, 14, 1, 0.36, 0)
A(gilbert_mixer, mcon, -2.485, 38.555, 0.17, 0.17, 6, 28, 0.36, 0.36)
A(gilbert_mixer, mcon, 1.515, 38.555, 0.17, 0.17, 6, 28, 0.36, 0.36)
A(gilbert_mixer, mcon, 4.515, 38.555, 0.17, 0.17, 6, 28, 0.36, 0.36)
A(gilbert_mixer, mcon, -3.34, 49.575, 0.17, 0.17, 97, 4, 0.36, 0.36)
R(gilbert_mixer, mcon, [(8.215,-1.31,8.385,-1.14), (8.575,-1.31,8.745,-1.14), (9.505,-1.31,9.675,-1.14), (9.865,-1.31,10.035,-1.14), (10.795,-1.31,10.965,-1.14), (11.155,-1.31,11.325,-1.14), (12.085,-1.31,12.255,-1.14), (12.445,-1.31,12.615,-1.14), (-0.965,-1.12,-0.795,-0.95), (-0.605,-1.12,-0.435,-0.95), (0.325,-1.12,0.495,-0.95), (0.685,-1.12,0.855,-0.95), (1.615,-1.12,1.785,-0.95), (1.975,-1.12,2.145,-0.95), (2.905,-1.12,3.075,-0.95), (3.265,-1.12,3.435,-0.95), (15.18,-0.33,15.35,-0.16), (16.215,-0.31,16.385,-0.14), (16.575,-0.31,16.745,-0.14), (21.215,-0.31,21.385,-0.14), (21.575,-0.31,21.745,-0.14), (16.215,2.24,16.385,2.41), (16.575,2.24,16.745,2.41), (21.215,2.24,21.385,2.41), (21.575,2.24,21.745,2.41), (-0.785,27.24,-0.615,27.41), (-0.425,27.24,-0.255,27.41)])
R(gilbert_mixer, met1_pin, [(10.5,-5,15.5,-2.5), (11,49.5,16,52)])
A(gilbert_mixer, met1, 8, -1.34, 0.96, 0.23, 4, 1, 1.29, 0)
A(gilbert_mixer, met1, -1.18, -1.15, 0.96, 0.23, 4, 1, 1.29, 0)
A(gilbert_mixer, met1, 9.1, 30.5, 2.1, 0.4, 3, 1, 6, 0)
R(gilbert_mixer, met1, [(-5,-5,33,-1.65), (-5,-1.65,7.4,-1.45), (13.5,-1.65,33,-0.62), (-5,-1.45,-1.8,15.9), (4.25,-1.45,7.4,15.25), (9.6,-1.35,10,-1.34), (8.2,-1.11,8.62,3.9), (9.6,-1.11,10,0.25), (10.85,-1.11,11.25,15.45), (12.2,-1.11,12.6,0.3), (7.72,-0.95,7.95,11.8), (9.01,-0.95,9.24,0.55), (10.3,-0.95,10.53,11.7), (11.59,-0.95,11.82,0.65), (12.88,-0.95,13.11,11.6), (-0.95,-0.92,-0.53,11.25), (0.4,-0.92,0.82,6.9), (1.6,-0.92,2.02,0.45), (3,-0.92,3.42,6.9), (-1.46,-0.76,-1.23,11.5), (-0.17,-0.76,0.06,0.5), (1.12,-0.76,1.35,11.7), (2.41,-0.76,2.64,0.6), (3.7,-0.76,3.93,11.7), (13.5,-0.62,15.8,-0.6), (17.15,-0.62,20.65,-0.6), (22.3,-0.62,33,-0.45), (13.5,-0.6,15.4,2.75), (17.5,-0.6,20.41,-0.52), (17.5,-0.52,20.4,0.11), (22.45,-0.45,33,-0.3), (16,-0.34,16.96,-0.11), (21,-0.34,21.9,-0.11), (22.58,-0.3,33,0.2), (16.25,-0.11,16.7,2.21), (21.05,-0.11,21.9,-0.1), (21.15,-0.1,21.85,-0.05), (21.3,-0.05,21.85,0.11), (15.72,0.05,15.95,0.15), (17.01,0.05,17.24,0.11), (20.72,0.05,20.95,0.11), (22.01,0.05,22.24,0.2), (17.01,0.11,20.4,1.95), (20.72,0.11,21.85,2.05), (15.55,0.15,15.95,2), (22.01,0.2,33,0.25), (9.7,0.25,10,1.5), (22,0.25,33,1.9), (12.3,0.3,12.6,1.55), (1.6,0.45,1.95,1.45), (-0.35,0.5,0.25,1.25), (8.8,0.55,9.5,1.2), (2.15,0.6,2.85,1.25), (11.4,0.65,12.1,1.3), (9.01,1.2,9.24,15.05), (-0.17,1.25,0.06,15.24), (2.41,1.25,2.64,15.24), (11.59,1.3,11.82,15.05), (1.6,1.45,2.02,7), (9.6,1.5,10,4), (12.2,1.55,12.6,4.1), (22.01,1.9,22.24,2.05), (22.58,1.9,33,2.45), (17.01,1.95,17.24,2.05), (17.5,1.95,20.4,2.7), (15.72,2,15.95,2.05), (20.75,2.05,21.85,2.2), (20.75,2.2,21.9,2.21), (16,2.21,16.96,2.44), (20.75,2.21,21.96,2.44), (20.75,2.44,21.9,2.5), (22.3,2.45,33,2.7), (17.5,2.7,33,2.75), (15.6,2.72,17.36,2.75), (13.5,2.75,33,4.35), (8.2,3.9,8.65,4.5), (9.6,4,10.05,4.6), (12.2,4.1,12.65,4.7), (13.5,4.35,15.35,5.65), (30.4,4.35,33,5.65), (8.2,4.5,8.62,11.4), (9.6,4.6,10,15.35), (12.2,4.7,12.6,15.45), (15.77,4.8,18.05,5.21), (27.77,4.8,30.05,5.21), (13.5,5.65,33,7.4), (0.4,6.9,0.85,7.5), (3,6.9,3.45,7.5), (1.6,7,2.05,7.6), (13.5,7.4,15.35,8.6), (30.4,7.4,33,8.6), (0.4,7.5,0.82,11), (3,7.5,3.42,10.2), (1.6,7.6,2.02,11.4), (27.77,7.8,30.05,8.21), (13.5,8.6,33,10.33), (2.9,10.2,3.42,10.9), (13.5,10.33,16.3,15.65), (19,10.33,20,11.4), (24,10.33,33,10.95), (21.1,10.5,23.3,10.9), (17.05,10.6,17.85,10.9), (2.8,10.9,3.42,11.1), (21.2,10.9,21.5,27.2), (22.7,10.9,23,27.2), (24,10.95,28.55,11.05), (0.2,11,0.82,11.1), (24,11.05,26.95,11.7), (0.2,11.1,0.7,13), (2.8,11.1,3.2,11.5), (-0.85,11.25,-0.53,12.8), (1.6,11.4,2.1,11.5), (8.45,11.4,8.62,11.45), (18.1,11.4,20.9,26.6), (8.45,11.45,8.8,13.2), (-1.5,11.5,-1.05,12.7), (1.7,11.5,2.1,12.6), (2.8,11.5,3.1,12.4), (12.75,11.6,13.25,12.6), (16.55,11.6,17.15,26.2), (0.95,11.7,1.55,12.4), (3.45,11.7,3.95,12.7), (10.15,11.7,10.65,12.7), (21.85,11.7,22.45,26.3), (23.4,11.7,26.95,26.8), (7.72,11.8,8.3,12.8), (28.05,11.9,32.55,11.95), (27.62,11.95,32.55,12), (27.6,12,33,16.8), (1.12,12.4,1.35,15.24), (2.8,12.4,3.2,13.8), (1.6,12.6,2.1,12.8), (12.88,12.6,13.11,15.05), (-1.46,12.7,-1.23,15.24), (3.7,12.7,3.93,15.24), (10.3,12.7,10.53,15.05), (-0.95,12.8,-0.53,15.57), (1.6,12.8,2.02,15.57), (7.72,12.8,7.95,15.05), (0.4,13,0.7,13.1), (0.4,13.1,0.82,15.52), (8.2,13.2,8.8,13.25), (8.2,13.25,8.62,15.37), (2.8,13.8,3.42,14.4), (3,14.4,3.42,15.47), (4.25,15.25,7.5,15.65), (4.25,15.65,16.3,15.9), (-5,15.9,16.3,18.3), (27.65,16.8,33,31.4), (-5,18.3,-1.7,18.6), (0.65,18.3,2.2,18.6), (4.6,18.3,7.2,18.6), (9.8,18.3,11.3,18.6), (13.6,18.3,16.3,27.7), (-5,18.6,-1.62,24), (0.65,18.6,2.38,27.5), (4.6,18.6,7.38,18.84), (9.58,18.6,11.38,27.5), (-0.9,18.7,-0.2,24.4), (3.15,18.7,3.85,19.9), (8.15,18.7,8.85,19.8), (12.15,18.75,12.85,19.7), (4.57,18.84,7.38,27.5), (-1.28,19.05,-1.05,24.6), (12.4,19.7,12.85,21.2), (8.15,19.8,8.6,21), (3.3,19.9,3.85,20.9), (8.8,20.1,9.25,20.5), (11.75,20.1,12.25,20.5), (-0.05,20.2,0.45,20.6), (2.65,20.2,3.15,20.6), (3.15,20.9,3.85,26), (8.15,21,8.85,24.3), (12.15,21.2,12.85,25.9), (-2,24,-1.62,27.5), (8.3,24.3,8.85,25.7), (-0.6,24.4,-0.2,25.7), (-5.05,24.5,-3.95,25.5), (-3.5,24.5,-2.5,26), (7.65,24.5,8.05,25.5), (-1.28,24.6,-0.75,25.2), (-1.28,25.2,-1.05,27.05), (-5,25.5,-4,32.5), (-0.9,25.7,-0.2,27.21), (8.15,25.7,8.85,27.4), (12.15,25.9,12.8,27), (-3.55,26,-2.45,27), (3.15,26,3.7,27), (12.95,26,13.35,26.9), (3.95,26.1,4.35,26.9), (19,26.6,20,27.7), (24,26.8,26.95,27.7), (-3.5,27,-2.5,34.5), (3.15,27,3.85,27.4), (12.15,27,12.85,27.45), (21.2,27.2,23,27.4), (-1,27.21,-0.04,27.44), (21.3,27.4,23,27.5), (-2,27.5,-1.4,27.7), (0.4,27.5,2.2,27.7), (4.57,27.5,7.3,27.7), (9.7,27.5,11.3,27.7), (-2,27.7,27,28.2), (18.65,28.7,22.8,29.7), (12.55,28.8,17.45,29.8), (18.7,29.7,19.7,35.8), (12.6,29.8,13.6,35.8), (-2,30,12.1,30.3), (14.1,30,18.4,30.3), (20,30,26.95,30.3), (-2,30.3,8,30.4), (11.9,30.3,12.1,31.45), (14.1,30.3,14.4,31.45), (17.5,30.3,18.4,31.55), (20,30.3,20.3,31.55), (25,30.3,26.95,31.4), (-2,30.4,-1.5,36.4), (1.1,30.4,3,31.7), (6,30.4,8,31.25), (3.7,30.8,4.3,31.7), (-0.9,30.9,-0.3,35.8), (9.2,30.9,9.7,32.5), (10.5,30.9,11,32.5), (15.3,30.9,15.8,34.5), (16.5,30.9,17,34.5), (21.3,30.9,21.8,34.5), (22.5,30.9,23,34.5), (6,31.25,8.9,36), (23.45,31.4,33,46.45), (11.3,31.45,12.1,36.4), (14.1,31.45,14.9,36.4), (17.35,31.55,18.4,37.5), (20,31.55,20.8,37.5), (0.5,31.7,4.3,34.85), (-5.05,32.5,-3.95,33.5), (9.15,32.5,9.75,33.5), (10.45,32.5,11,33.5), (-5,33.5,-4,36), (9.2,33.5,9.7,35.5), (10.5,33.5,11,35.5), (-3.55,34.5,-2.45,35.5), (4.85,34.5,5.35,35.2), (15.25,34.5,15.8,35.5), (16.45,34.5,17,35.5), (21.25,34.5,21.8,35.5), (22.45,34.5,23,35.5), (1.1,34.85,3,36), (3.7,34.85,4.3,35.7), (-3.5,35.5,-2.5,36), (9.3,35.5,9.5,47.3), (10.8,35.5,11,47.3), (15.3,35.5,15.5,47.3), (16.8,35.5,17,47.3), (21.3,35.5,21.5,47.3), (22.8,35.5,23,47.3), (12.55,35.8,13.65,36.7), (15.7,35.8,16.5,46.7), (18.65,35.8,19.75,36.7), (9.7,35.9,10.5,46.8), (21.8,35.9,22.6,46.8), (1.1,36,8.9,36.4), (-2,36.4,8.9,36.5), (11.3,36.4,12.2,37.2), (14,36.4,14.9,37.2), (-5,36.5,8.9,46.7), (18.7,36.7,19.7,37.1), (11.3,37.2,14.9,46.85), (17.35,37.5,20.8,46.8), (24.3,46.45,33,47.95), (-5,46.7,8,47.95), (17.5,46.8,20.3,47.95), (11.9,46.85,14.4,47.95), (8.9,47.3,11.2,47.6), (15,47.3,17.3,47.6), (21,47.3,23.3,47.6), (-5,47.95,33,52)])
A(gilbert_mixer, via, 15.675, 0.36, 0.15, 0.15, 1, 5, 0, 0.32)
A(gilbert_mixer, via, 16.375, 0.58, 0.15, 0.15, 1, 3, 0, 0.32)
A(gilbert_mixer, via, 16.035, 4.93, 0.15, 0.15, 6, 1, 0.32, 0)
A(gilbert_mixer, via, 28.035, 4.93, 0.15, 0.15, 6, 2, 0.32, 3)
A(gilbert_mixer, via, 12.925, 11.705, 0.15, 0.15, 1, 3, 0, 0.32)
A(gilbert_mixer, via, 16.775, 11.785, 0.15, 0.15, 1, 45, 0, 0.32)
A(gilbert_mixer, via, 3.625, 11.805, 0.15, 0.15, 1, 3, 0, 0.32)
A(gilbert_mixer, via, 10.325, 11.805, 0.15, 0.15, 1, 3, 0, 0.32)
A(gilbert_mixer, via, 7.925, 11.905, 0.15, 0.15, 1, 3, 0, 0.32)
A(gilbert_mixer, via, 22.075, 11.935, 0.15, 0.15, 1, 45, 0, 0.32)
A(gilbert_mixer, via, 27.76, 12.03, 0.15, 0.15, 15, 8, 0.32, 0.32)
A(gilbert_mixer, via, -4.895, 24.605, 0.15, 0.15, 3, 3, 0.32, 0.32)
A(gilbert_mixer, via, 7.775, 24.605, 0.15, 0.15, 1, 3, 0, 0.32)
A(gilbert_mixer, via, 13.075, 26.055, 0.15, 0.15, 1, 3, 0, 0.32)
A(gilbert_mixer, via, -3.395, 26.105, 0.15, 0.15, 3, 3, 0.32, 0.32)
A(gilbert_mixer, via, 18.805, 28.805, 0.15, 0.15, 3, 3, 0.32, 0.32)
A(gilbert_mixer, via, 20.405, 28.805, 0.15, 0.15, 3, 3, 0.32, 0.32)
A(gilbert_mixer, via, 21.805, 28.805, 0.15, 0.15, 3, 3, 0.32, 0.32)
A(gilbert_mixer, via, 12.705, 28.905, 0.15, 0.15, 3, 3, 0.32, 0.32)
A(gilbert_mixer, via, 14.705, 28.905, 0.15, 0.15, 3, 3, 0.32, 0.32)
A(gilbert_mixer, via, 16.505, 28.905, 0.15, 0.15, 3, 3, 0.32, 0.32)
A(gilbert_mixer, via, -4.895, 32.605, 0.15, 0.15, 3, 3, 0.32, 0.32)
A(gilbert_mixer, via, -0.675, 32.605, 0.15, 0.15, 1, 3, 0, 0.32)
A(gilbert_mixer, via, 9.375, 32.605, 0.15, 0.15, 1, 3, 0, 0.32)
A(gilbert_mixer, via, 10.675, 32.605, 0.15, 0.15, 1, 3, 0, 0.32)
A(gilbert_mixer, via, -3.395, 34.605, 0.15, 0.15, 3, 3, 0.32, 0.32)
A(gilbert_mixer, via, 15.425, 34.605, 0.15, 0.15, 1, 3, 0, 0.32)
A(gilbert_mixer, via, 16.625, 34.605, 0.15, 0.15, 1, 3, 0, 0.32)
A(gilbert_mixer, via, 21.425, 34.605, 0.15, 0.15, 1, 3, 0, 0.32)
A(gilbert_mixer, via, 22.625, 34.605, 0.15, 0.15, 1, 3, 0, 0.32)
A(gilbert_mixer, via, 12.705, 35.855, 0.15, 0.15, 3, 3, 0.32, 0.32)
A(gilbert_mixer, via, 18.805, 35.855, 0.15, 0.15, 3, 3, 0.32, 0.32)
A(gilbert_mixer, via, 10.075, 38.105, 0.15, 0.15, 3, 3, 6, 0.32)
A(gilbert_mixer, via, 10.075, 40.605, 0.15, 0.15, 1, 3, 0, 0.32)
A(gilbert_mixer, via, 22.075, 40.605, 0.15, 0.15, 1, 3, 0, 0.32)
A(gilbert_mixer, via, 10.075, 42.605, 0.15, 0.15, 3, 3, 6, 0.32)
A(gilbert_mixer, via, 10.075, 45.105, 0.15, 0.15, 3, 3, 6, 0.32)
R(gilbert_mixer, via, [(-0.125,0.64,0.025,0.79), (8.915,0.64,9.065,0.79), (9.235,0.64,9.385,0.79), (2.45,0.69,2.6,0.84), (11.515,0.74,11.665,0.89), (11.835,0.74,11.985,0.89), (21.475,0.765,21.625,0.915), (-0.125,0.96,0.025,1.11), (8.915,0.96,9.065,1.11), (9.235,0.96,9.385,1.11), (2.45,1.01,2.6,1.16), (11.515,1.06,11.665,1.21), (11.835,1.06,11.985,1.21), (21.475,1.085,21.625,1.235), (8.375,3.965,8.525,4.115), (9.775,4.065,9.925,4.215), (10.975,4.065,11.125,4.215), (12.375,4.165,12.525,4.315), (8.375,4.285,8.525,4.435), (9.775,4.385,9.925,4.535), (10.975,4.385,11.125,4.535), (12.375,4.485,12.525,4.635), (-0.825,6.965,-0.675,7.115), (0.575,6.965,0.725,7.115), (3.175,6.965,3.325,7.115), (1.775,7.065,1.925,7.215), (-0.825,7.285,-0.675,7.435), (0.575,7.285,0.725,7.435), (3.175,7.285,3.325,7.435), (1.775,7.385,1.925,7.535), (17.215,10.675,17.365,10.825), (17.535,10.675,17.685,10.825), (21.315,10.675,21.465,10.825), (21.635,10.675,21.785,10.825), (22.515,10.675,22.665,10.825), (22.835,10.675,22.985,10.825), (-1.3,11.765,-1.15,11.915), (1.175,11.815,1.325,11.965), (-1.3,12.085,-1.15,12.235), (1.175,12.135,1.325,12.285), (8.975,20.225,9.125,20.375), (11.925,20.225,12.075,20.375), (0.125,20.325,0.275,20.475), (2.825,20.325,2.975,20.475), (3.425,21.715,3.575,21.865), (8.425,21.765,8.575,21.915), (3.425,22.035,3.575,22.185), (8.425,22.085,8.575,22.235), (12.375,23.215,12.525,23.365), (-0.625,23.265,-0.475,23.415), (12.375,23.535,12.525,23.685), (-0.625,23.585,-0.475,23.735), (-1.075,24.665,-0.925,24.815), (-1.075,24.985,-0.925,25.135), (4.075,26.265,4.225,26.415), (4.075,26.585,4.225,26.735), (5.025,34.615,5.175,34.765), (5.025,34.935,5.175,35.085)])
R(gilbert_mixer, met2_5, [(-5,24.5,-4,25.5), (-5,26,-4,27)])
R(gilbert_mixer, met2_pin, [(-5,3.5,-3.4,5), (-5,6.5,-3.4,8), (-5,21.5,-4,22.5), (-5,23,-4,24), (31,28,33,30.5)])
A(gilbert_mixer, met2, -5, 21.5, 20.5, 1, 1, 4, 0, 1.5)
A(gilbert_mixer, met2, 9.9, 37.95, 0.5, 0.05, 3, 2, 6, 1.05)
A(gilbert_mixer, met2, 9.9, 42.45, 0.5, 0.05, 3, 2, 6, 1.05)
A(gilbert_mixer, met2, 9.9, 44.95, 0.5, 0.05, 3, 2, 6, 1.05)
R(gilbert_mixer, met2, [(16.25,-0.5,17.5,0), (-3,0,13.5,0.35), (16.25,0,21.75,1.5), (15.6,0.1,15.9,0.15), (14.5,0.15,15.95,0.35), (-3,0.35,15.95,1.45), (-3,1.45,13.5,2), (14.5,1.45,15.95,2), (16.25,1.5,17.5,2.55), (15.6,2,15.9,2.05), (16,2.55,17.5,3.35), (15.55,3.35,18.1,3.85), (-5,3.5,13,5), (27.65,3.75,30.25,3.8), (27.65,3.8,33.1,14.58), (15.55,3.85,18.15,8.55), (-5,6.5,13,8), (15.6,8.55,18.15,9.05), (16.9,10.4,23.6,11.2), (-2.5,11.5,5.5,13.5), (6.5,11.5,14.5,13.5), (16.4,11.6,17.4,28.8), (21.7,11.8,22.7,28.4), (0.5,13.5,2,20), (9.5,13.5,11,20), (27.7,14.58,33.1,15.8), (-3,20,5.5,21), (6.5,20,15.5,21), (-5,24.45,-4,24.5), (7.7,24.45,8,24.5), (-5,25.5,-4,25.55), (7.7,25.5,8,25.55), (-3.5,25.95,-2.5,26), (13,25.95,13.3,26), (-3.5,27,-2.5,27.05), (27.5,28,33,28.4), (18.6,28.4,33,29.9), (12.6,28.75,13.6,28.8), (14.6,28.75,15.6,28.8), (12.6,28.8,17.4,29.8), (12.6,29.8,13.6,29.85), (14.6,29.8,15.6,29.85), (16.4,29.8,17.4,29.85), (27.5,29.9,33,30.5), (-5,32.45,-4,32.5), (-0.8,32.45,-0.5,32.5), (9.2,32.45,9.7,32.5), (10.5,32.45,11,32.5), (-5,32.5,25,33.5), (-5,33.5,-4,33.55), (-0.8,33.5,-0.5,33.55), (9.2,33.5,9.7,33.55), (10.5,33.5,11,33.55), (-3.5,34.45,-2.5,34.5), (4.9,34.45,5.3,34.5), (15.3,34.45,15.7,34.5), (16.5,34.45,16.9,34.5), (21.3,34.45,21.7,34.5), (22.5,34.45,22.9,34.5), (-5,34.5,25,35.5), (-3.5,35.5,-2.5,35.55), (15.3,35.5,15.7,35.55), (16.5,35.5,16.9,35.55), (21.3,35.5,21.7,35.55), (22.5,35.5,22.9,35.55), (12.6,35.75,13.6,38), (18.7,35.75,19.7,38), (9.5,38,13.6,39), (15.5,38,23,39), (12.6,39,13.6,40.5), (18.7,39,19.7,40.5), (9.9,40.45,10.4,40.5), (21.9,40.45,22.4,40.5), (9.5,40.5,13.6,41.5), (15.5,40.5,23,41.5), (9.9,41.5,10.4,41.55), (12.6,41.5,13.6,42.5), (18.7,41.5,19.7,42.5), (21.9,41.5,22.4,41.55), (9.5,42.5,13.6,43.5), (15.5,42.5,23,43.5), (12.6,43.5,13.6,45), (18.7,43.5,19.7,45), (9.5,45,13.6,46), (15.5,45,23,46), (12.6,46,13.6,47.2), (18.7,46,19.7,47.4)])
R(gilbert_mixer, nsdm, [(0.075,10.875,0.825,13.125), (2.675,12.775,3.225,13.825)])
R(gilbert_mixer, lvtn, [(0.02,10.82,0.88,13.18), (2.62,12.72,3.28,13.88)])
gilbert_mixer.add(gdstk.Reference(sky130_fd_pr__res_xhigh_, (22.91,5.005), rotation=pi/2))
gilbert_mixer.add(gdstk.Reference(sky130_fd_pr__res_xhigh_, (22.91,8.005), rotation=pi/2))
gilbert_mixer.add(gdstk.Reference(sky130_fd_pr__nfet_01v8_, (17.48,19.05)))
gilbert_mixer.add(gdstk.Reference(c_sky130_fd_pr__nfet_01v8_, (22.125,19.05)))
gilbert_mixer.add(gdstk.Reference(sky130_fd_pr__pfet_01v8_, (16.125,39.095)))
gilbert_mixer.add(gdstk.Reference(c_sky130_fd_pr__nfet_01v8__, (21.48,1.05)))
gilbert_mixer.add(gdstk.Reference(c_sky130_fd_pr__nfet_01v8__, (16.48,1.05)))
gilbert_mixer.add(gdstk.Reference(c_sky130_fd_pr__pfet_01v8_, (4.48,33.275)))
gilbert_mixer.add(gdstk.Reference(c_sky130_fd_pr__pfet_01v8_, (-0.11,33.345)))
gilbert_mixer.add(gdstk.Reference(sky130_fd_pr__pfet_01v8_, (10.125,39.095)))
gilbert_mixer.add(gdstk.Reference(c_sky130_fd_pr__nfet_01v8___, (1.235,7.24)))
gilbert_mixer.add(gdstk.Reference(c_sky130_fd_pr__nfet_01v8____, (12.48,23.05)))
gilbert_mixer.add(gdstk.Reference(c_sky130_fd_pr__nfet_01v8____, (8.48,23.05)))
gilbert_mixer.add(gdstk.Reference(c_sky130_fd_pr__nfet_01v8____, (3.48,23.05)))
gilbert_mixer.add(gdstk.Reference(c_sky130_fd_pr__nfet_01v8____, (-0.52,23.05)))
gilbert_mixer.add(gdstk.Reference(sky130_fd_pr__pfet_01v8_, (22.125,39.095)))
gilbert_mixer.add(gdstk.Reference(c_sky130_fd_pr__nfet_01v8___, (10.415,7.05)))
gilbert_mixer.add(gdstk.Label('VOUT_P', (-4.5,25), layer=69, texttype=5))
gilbert_mixer.add(gdstk.Label('VOUT', (-4.5,26.5), layer=69, texttype=5))
gilbert_mixer.add(gdstk.Label('VLO', (-4.5,23.5), layer=69, texttype=5))
gilbert_mixer.add(gdstk.Label('VLO_N', (-4.5,22), layer=69, texttype=5))
gilbert_mixer.add(gdstk.Label('VRF', (-4.2,7.25), layer=69, texttype=5))
gilbert_mixer.add(gdstk.Label('VRF_N', (-4.2,4.25), layer=69, texttype=5))
gilbert_mixer.add(gdstk.Label('VSUM', (32,29.25), layer=69, texttype=5))
gilbert_mixer.add(gdstk.Label('VDD', (13.5,50.75), layer=68, texttype=5))
gilbert_mixer.add(gdstk.Label('VSS', (13,-3.75), layer=68, texttype=5))

lib.write_gds('gilbert_mixer.gds')
